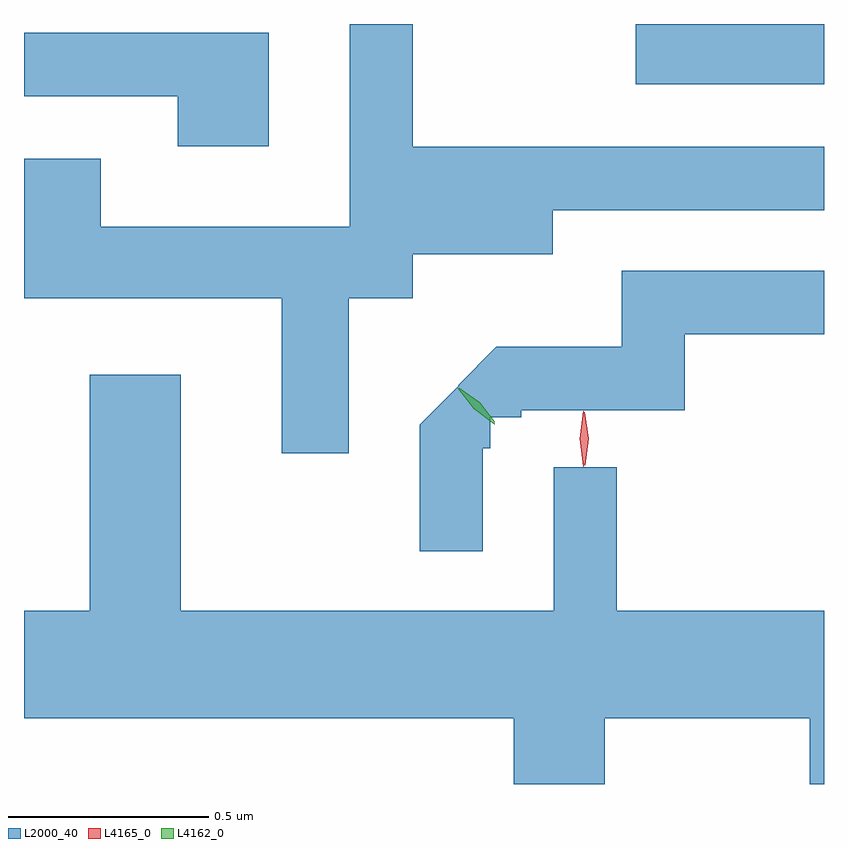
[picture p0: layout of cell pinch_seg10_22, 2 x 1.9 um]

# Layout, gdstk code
import gdstk
lib = gdstk.Library(unit=1e-6, precision=1e-09)
def R(c, l, rs):  # rectangles x0, y0, x1, y1
    for r in rs: c.add(gdstk.rectangle(r[:2], r[2:], *l))
def P(c, l, *ps):  # polygons
    for p in ps: c.add(gdstk.Polygon(p, *l))
L2000_40 = (2000, 40)
L4162_0 = (4162, 0)
L4165_0 = (4165, 0)

pinch_seg10_22 = lib.new_cell('pinch_seg10_22')
R(pinch_seg10_22, L2000_40, [(832.166,2166.561,832.637,2166.711)])
P(pinch_seg10_22, L2000_40, [(831.449,2166.026),(831.609,2166.026),(831.609,2166.136),(831.959,2166.136),(831.959,2166.246),(832.637,2166.246),(832.637,2166.404),(831.609,2166.404),(831.609,2166.711),(831.451,2166.711),(831.451,2166.204),(830.829,2166.204),(830.829,2166.374),(830.637,2166.374),(830.637,2166.026),(831.281,2166.026),(831.281,2165.638),(831.449,2165.638)],
  [(831.249,2166.689),(830.637,2166.689),(830.637,2166.531),(831.021,2166.531),(831.021,2166.406),(831.249,2166.406)],
  [(831.784,2165.65),(831.803,2165.65),(831.803,2165.728),(831.88,2165.728),(831.88,2165.746),(832.289,2165.746),(832.289,2165.936),(832.637,2165.936),(832.637,2166.094),(832.131,2166.094),(832.131,2165.904),(831.818,2165.904),(831.722,2165.808),(831.724,2165.807),(831.626,2165.709),(831.626,2165.393),(831.784,2165.393)],
  [(832.089,2164.976),(832.601,2164.976),(832.601,2164.811),(832.637,2164.811),(832.637,2165.244),(832.119,2165.244),(832.119,2165.603),(831.961,2165.603),(831.961,2165.244),(831.029,2165.244),(831.029,2165.834),(830.801,2165.834),(830.801,2165.244),(830.637,2165.244),(830.637,2164.976),(831.861,2164.976),(831.861,2164.811),(832.089,2164.811)])
P(pinch_seg10_22, L4162_0, [(831.813,2165.716),(831.763,2165.751),(831.725,2165.799),(831.725,2165.8),(831.726,2165.8),(831.776,2165.765),(831.814,2165.717),(831.814,2165.716)],
  [(831.813,2165.711),(831.761,2165.749),(831.721,2165.8),(831.721,2165.801),(831.722,2165.801),(831.774,2165.763),(831.814,2165.712),(831.814,2165.711)])
P(pinch_seg10_22, L4165_0, [(832.036,2165.604),(832.035,2165.605),(832.026,2165.674),(832.035,2165.743),(832.036,2165.743),(832.036,2165.743),(832.046,2165.674),(832.036,2165.605)],
  [(832.039,2165.608),(832.039,2165.608),(832.029,2165.674),(832.038,2165.74),(832.039,2165.741),(832.039,2165.74),(832.049,2165.674),(832.04,2165.608)])

lib.write_gds('pinch_seg10_22.gds')
